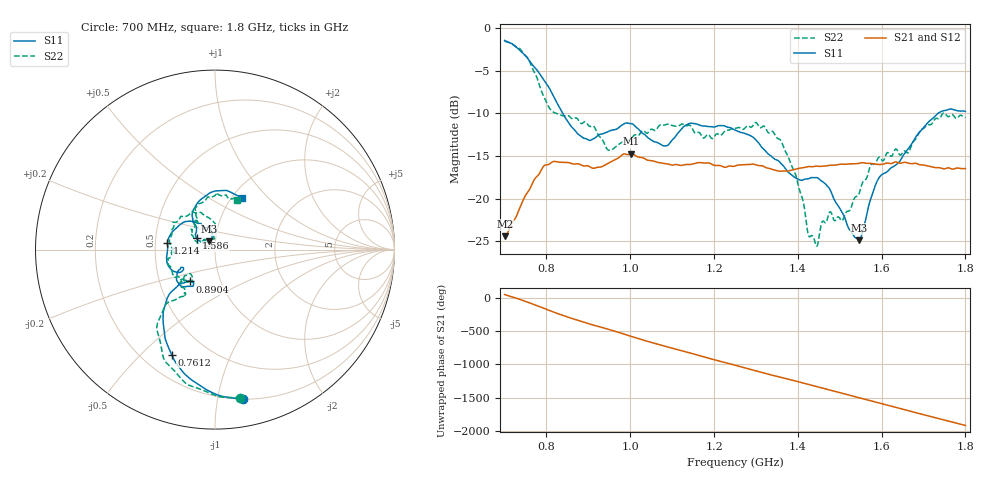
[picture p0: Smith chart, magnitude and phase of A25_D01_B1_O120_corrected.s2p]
! Created with skrf 1.9.0 (http://scikit-rf.org).
# Hz S RI R 50.0
!freq ReS11 ImS11 ReS21 ImS21 ReS12 ImS12 ReS22 ImS22
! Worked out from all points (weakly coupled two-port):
!   1601 points, 700 MHz to 1.8 GHz, reference 50 ohm
!   highest |S21| = -14.75 dB at 1.002 GHz (marker M1); lowest = -24.4 dB at 700.7 MHz (marker M2)
!   lowest |S11| = -24.9 dB at 1.546 GHz (marker M3), VSWR 1.12, Z = 46.5 + j4.24 ohm
!   |S11| at or under -10 dB: 838.6 MHz to 1.735 GHz (896.1 MHz wide, 69.6 % of centre)
!   |S22| runs from -25.6 to -1.5 dB; largest |S21 - S12| = 0.0037
!   S11 on the Smith chart (normalised r, x): 700 MHz: 0.20, -1.19; 761.2 MHz: 0.32, -0.62; 890.4 MHz: 0.71, -0.27; 1.214 GHz: 0.58, +0.05; 1.586 GHz: 0.81, +0.11; 1.8 GHz: 1.12, +0.72
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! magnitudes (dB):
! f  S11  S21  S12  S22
! 700 MHz  -1.4  -24.4  -24.2  -1.5
! 700.7 MHz  -1.5  -24.4  -24.1  -1.5
! 761.2 MHz  -4.0  -18.8  -18.7  -4.1
! 810.7 MHz  -7.4  -15.8  -15.7  -9.6
! 883.6 MHz  -12.7  -16.1  -16.0  -11.2
! 890.4 MHz  -12.9  -16.2  -16.2  -11.0
! 948.9 MHz  -12.1  -15.8  -15.8  -14.3
! 1.002 GHz  -11.2  -14.7  -14.9  -13.0
! 1.067 GHz  -13.5  -15.8  -15.7  -11.6
! 1.214 GHz  -11.4  -16.1  -16.1  -12.6
! 1.25 GHz  -12.0  -16.2  -16.1  -11.8
! 1.359 GHz  -15.8  -16.8  -16.8  -13.1
! 1.434 GHz  -17.5  -16.3  -16.2  -24.4
! 1.446 GHz  -17.5  -16.2  -16.2  -25.6
! 1.472 GHz  -18.6  -16.1  -16.1  -22.1
! 1.506 GHz  -21.7  -16.0  -16.0  -22.6
! 1.546 GHz  -24.9  -15.9  -15.8  -19.4
! 1.586 GHz  -18.3  -16.0  -16.0  -15.8
! 1.617 GHz  -16.7  -15.9  -15.8  -14.7
! 1.663 GHz  -14.2  -15.8  -15.8  -14.6
! 1.735 GHz  -10.0  -16.4  -16.4  -10.6
! 1.8 GHz  -9.8  -16.5  -16.5  -10.4
